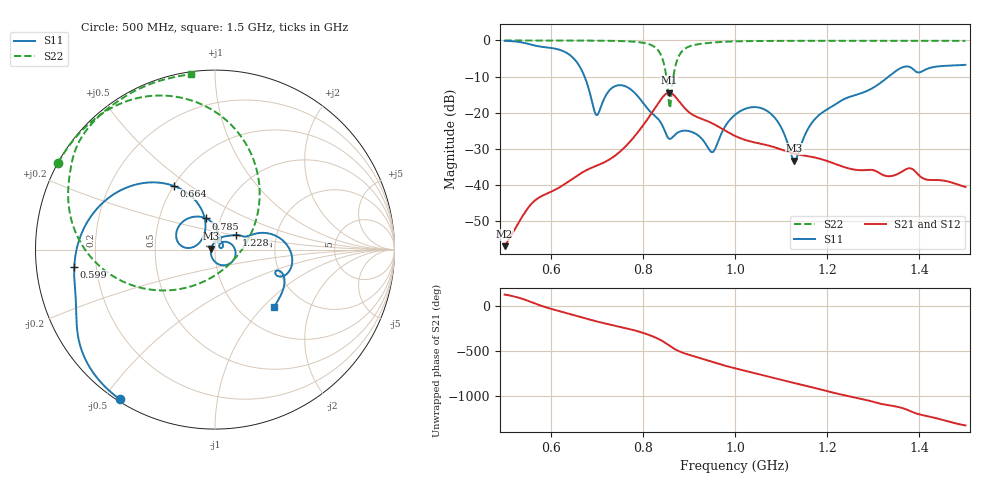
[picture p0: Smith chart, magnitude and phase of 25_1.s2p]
! TOUCHSTONE file generated by CST MICROWAVE STUDIO
! Date and time: Mon Oct 26 12:08:15 2020
! Project name: Scenario_1_Circular_Tissue_out_of_Line_v2.cst
! Parameters = {dy1=69.2; L_HA=400; MT=2.54; Rad_Dielectric=30; Rad_Lower=7.3; Rad_Upper=30; a_HA=580; a_WG=246; b_HA=500; b_WG=121; c_HA=0; c_WG=187; d_feed=85; dx1=173; h_feed=15; h_lower=18; h_upper=40}
! Header version: 2018
! Port assignment regex: !\s*Touchstone port\s*([0-9]+)\s*=\s*(CST MWS port|CST DS port)\s*([0-9]+|Zmin|Zmax)\s*\(\"(.*)\"\)(\s*mode\s*([0-9]+))?.*
! Touchstone port assignment:
! Touchstone port 1 = CST MWS port 1 ("")
! Touchstone port 2 = CST MWS port 2 ("")
# GHz S DB R 50
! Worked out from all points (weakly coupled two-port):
!   1003 points, 500 MHz to 1.5 GHz, reference 50 ohm
!   highest |S21| = -14.47 dB at 857 MHz (marker M1); lowest = -57.0 dB at 500 MHz (marker M2)
!   lowest |S11| = -33.3 dB at 1.129 GHz (marker M3), VSWR 1.04, Z = 47.9 + j0.422 ohm
!   |S11| at or under -10 dB: 673.4 MHz to 1.333 GHz (659.9 MHz wide, 65.8 % of centre)
!   |S22| runs from -18.7 to 0.0 dB; largest |S21 - S12| = 6.8e-05
!   S11 on the Smith chart (normalised r, x): 500 MHz: 0.01, -0.55; 599 MHz: 0.12, -0.06; 664 MHz: 0.50, +0.43; 785 MHz: 0.86, +0.31; 1.228 GHz: 1.25, +0.21; 1.5 GHz: 1.44, -1.16
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0.5  -0.11 -122.6  -57.04 129.3  -57.04 129.3  -0.01 151.1
0.556  -1.11 -151.1  -45.62 49.5  -45.62 49.5  -0.01 147.3
0.599  -2.05 -173.1  -42.06 -26.9  -42.06 -26.9  -0.02 144.2
0.664  -7.46 123.0  -36.94 -118.0  -36.94 -118.0  -0.04 138.6
0.667  -8.18 119.7  -36.71 -122.5  -36.71 -122.5  -0.04 138.3
0.7  -20.72 145.7  -34.71 -169.7  -34.71 -169.7  -0.07 134.8
0.738  -12.77 160.5  -32.11 145.1  -32.11 145.1  -0.13 129.6
0.785  -14.89 105.7  -26.13 87.0  -26.13 87.0  -0.39 118.9
0.834  -21.90 70.0  -17.32 -4.4  -17.32 -4.4  -2.89 84.3
0.847  -24.92 59.5  -15.17 -41.8  -15.17 -41.8  -7.17 55.7
0.857  -27.26 68.0  -14.47 -75.9  -14.47 -75.9  -17.79 -15.4
0.869  -26.26 75.0  -15.38 -115.5  -15.38 -115.5  -8.07 -145.0
0.893  -25.01 52.2  -19.07 -168.8  -19.07 -168.8  -2.16 173.3
0.951  -30.97 29.7  -23.00 99.8  -23.00 99.8  -0.60 148.8
1  -20.63 21.2  -26.47 29.7  -26.47 29.7  -0.26 140.4
1.073  -19.83 -59.1  -29.15 -62.6  -29.15 -62.6  -0.14 132.1
1.129  -33.29 168.3  -31.38 -133.6  -31.38 -133.6  -0.11 127.2
1.167  -22.82 65.8  -32.30 179.0  -32.30 179.0  -0.11 124.2
1.228  -16.89 35.1  -34.72 100.8  -34.72 100.8  -0.09 119.6
1.334  -9.93 16.1  -37.65 -20.9  -37.65 -20.9  -0.08 111.5
1.38  -7.39 -17.5  -35.44 -84.9  -35.44 -84.9  -0.09 107.9
1.5  -6.77 -43.9  -40.63 114.3  -40.68 114.0  -0.12 97.9
